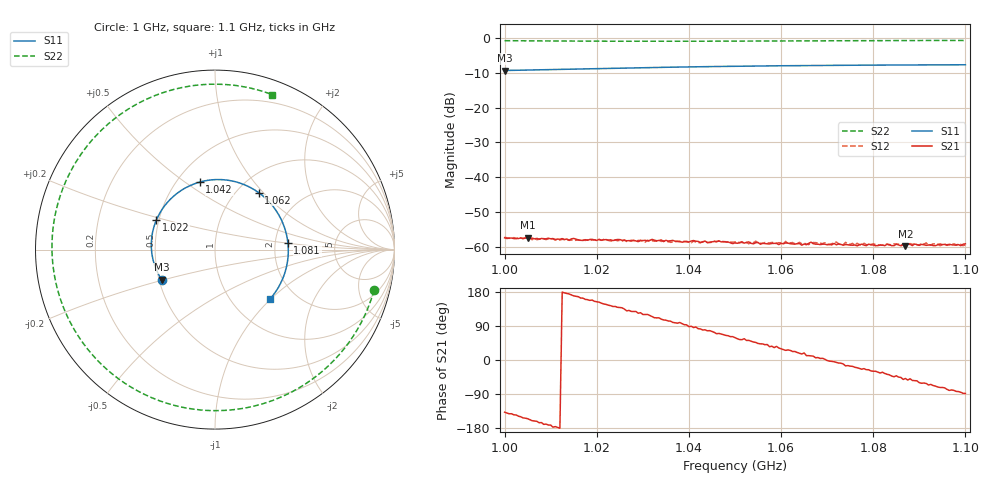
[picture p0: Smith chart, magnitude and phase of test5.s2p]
!Keysight Technologies N9923A: A.08.15
!Date: Wednesday, 14 February 2024 17:42:54
!Timezone: (GMT-05:00) Eastern Time (US & Canada)
!Model: N9923A
!Serial: MY52412730
!GPS Latitude:
!GPS Longitude:
!GPS TimeStamp: 0001-01-01 00:00:00Z
!GPS Seconds Since Last Read: 0
!CHECKSUM:0897519314
!Correction: S11(ON Q)S21(ON Q)S12(ON Q)S22(ON Q)
!S2P File: Measurements:S11,S21,S12,S22:
# Hz S DB R 50
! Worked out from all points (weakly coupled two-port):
!   201 points, 1 GHz to 1.1 GHz, reference 50 ohm
!   highest |S21| = -57.38 dB at 1.005 GHz (marker M1); lowest = -59.9 dB at 1.087 GHz (marker M2)
!   lowest |S11| = -9.3 dB at 1 GHz (marker M3), VSWR 2.03, Z = 25.8 - j9.76 ohm
!   |S11| at or under -10 dB: nowhere
!   |S22| runs from -0.9 to -0.7 dB; largest |S21 - S12| = 0.00014
!   S11 on the Smith chart (normalised r, x): 1 GHz: 0.52, -0.20; 1.022 GHz: 0.48, +0.18; 1.042 GHz: 0.65, +0.57; 1.062 GHz: 1.25, +0.94; 1.081 GHz: 2.35, +0.21; 1.1 GHz: 1.49, -0.99
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1e9  -9.35 -150.7  -57.47 -137.7  -57.23 -134.2  -0.77 -14.3
1.005e9  -9.20 -163.5  -57.38 -154.9  -57.85 -153.2  -0.82 -28.0
1.017e9  -8.87 165.9  -58.22 163.2  -58.04 166.0  -0.90 -60.8
1.022e9  -8.73 153.2  -57.96 146.8  -58.08 148.4  -0.93 -74.5
1.028e9  -8.58 138.0  -58.18 128.2  -58.22 131.5  -0.94 -91.0
1.0335e9  -8.45 124.1  -58.22 111.3  -58.21 111.3  -0.94 -106.2
1.042e9  -8.27 102.7  -58.49 82.7  -58.86 83.0  -0.93 -129.7
1.05e9  -8.13 82.6  -58.92 59.1  -58.64 58.2  -0.89 -151.8
1.056e9  -8.04 67.5  -59.01 42.4  -59.10 39.7  -0.86 -168.4
1.062e9  -7.96 52.5  -59.16 25.3  -58.91 20.2  -0.82 174.9
1.067e9  -7.90 40.1  -59.16 10.0  -58.83 7.1  -0.79 161.0
1.0705e9  -7.87 31.4  -59.39 -3.0  -59.34 -6.6  -0.77 151.3
1.072e9  -7.86 27.6  -59.47 -6.5  -58.69 -9.6  -0.76 147.2
1.0735e9  -7.85 23.9  -59.55 -10.6  -59.47 -13.3  -0.76 143.0
1.074e9  -7.84 22.6  -59.42 -15.6  -58.77 -12.8  -0.75 141.6
1.076e9  -7.83 17.7  -59.50 -19.2  -59.58 -17.0  -0.75 136.1
1.081e9  -7.79 5.2  -59.69 -31.9  -59.52 -33.9  -0.73 122.2
1.0835e9  -7.77 -1.0  -59.40 -39.2  -59.57 -42.2  -0.72 115.3
1.087e9  -7.76 -9.6  -59.86 -48.8  -59.43 -47.9  -0.71 105.6
1.0875e9  -7.76 -10.9  -59.26 -53.0  -59.50 -50.1  -0.71 104.2
1.0935e9  -7.73 -25.8  -59.73 -68.9  -59.18 -69.0  -0.71 87.7
1.1e9  -7.70 -41.9  -59.18 -88.4  -59.48 -85.3  -0.72 69.8
